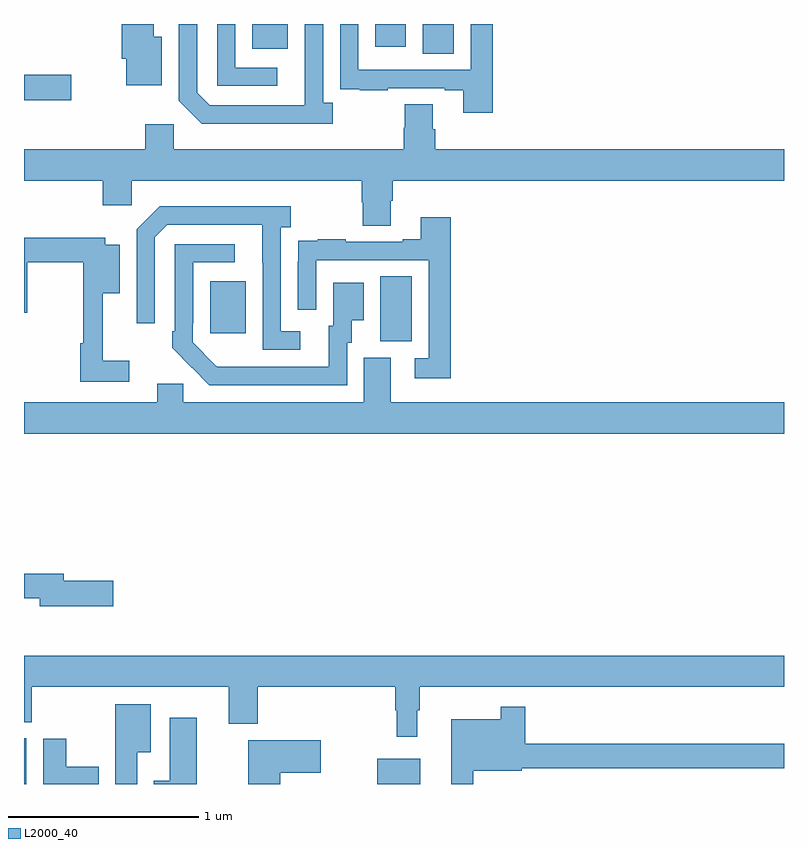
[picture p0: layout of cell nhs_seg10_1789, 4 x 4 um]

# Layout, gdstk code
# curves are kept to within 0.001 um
import gdstk
lib = gdstk.Library(unit=1e-6, precision=1e-09)
def R(c, l, rs):  # rectangles x0, y0, x1, y1
    for r in rs: c.add(gdstk.rectangle(r[:2], r[2:], *l))
def P(c, l, *ps):  # polygons
    for p in ps: c.add(gdstk.Polygon(p, *l))
L2000_40 = (2000, 40)

nhs_seg10_1789 = lib.new_cell('nhs_seg10_1789')
R(nhs_seg10_1789, L2000_40, [(205,1270.5,205.012,1270.74), (206.858,1270.5,207.085,1270.633), (206.876,1272.829,207.04,1273.172), (205.979,1272.873,206.167,1273.147), (205,1274.099,205.249,1274.234), (207.098,1274.344,207.262,1274.5), (206.201,1274.369,206.389,1274.5), (206.849,1274.379,207.01,1274.5)])
P(nhs_seg10_1789, L2000_40, [(206.626,1274.086),(206.574,1274.086),(206.574,1274.5),(206.478,1274.5),(206.477,1274.073),(205.977,1274.073),(205.911,1274.139),(205.911,1274.5),(205.815,1274.5),(205.815,1274.097),(205.936,1273.976),(206.626,1273.976)],
  [(205.726,1274.434),(205.684,1274.434),(205.684,1274.5),(205.514,1274.5),(205.514,1274.316),(205.538,1274.316),(205.538,1274.177),(205.726,1274.177)],
  [(206.332,1274.271),(206.112,1274.271),(206.112,1274.5),(206.016,1274.5),(206.016,1274.175),(206.332,1274.175)],
  [(207.467,1274.5),(207.351,1274.5),(207.351,1274.259),(206.76,1274.259),(206.76,1274.5),(206.664,1274.5),(206.664,1274.266),(206.665,1274.266),(206.665,1274.157),(206.767,1274.157),(206.767,1274.151),(206.915,1274.151),(206.915,1274.163),(207.215,1274.163),(207.215,1274.151),(207.311,1274.151),(207.311,1274.034),(207.467,1274.034)],
  [(206.929,1273.57),(206.942,1273.57),(206.942,1273.676),(209,1273.676),(209,1273.84),(207.164,1273.84),(207.164,1273.946),(207.151,1273.946),(207.151,1274.078),(207.004,1274.078),(207.004,1273.953),(206.999,1273.953),(206.999,1273.84),(205.788,1273.84),(205.788,1273.972),(205.637,1273.972),(205.637,1273.84),(205,1273.84),(205,1273.676),(205.415,1273.676),(205.415,1273.545),(205.566,1273.545),(205.566,1273.676),(206.777,1273.676),(206.777,1273.563),(206.782,1273.563),(206.782,1273.438),(206.929,1273.438)],
  [(206.455,1272.882),(206.352,1272.882),(206.352,1273.43),(206.404,1273.43),(206.404,1273.54),(205.714,1273.54),(205.593,1273.419),(205.593,1272.924),(205.689,1272.924),(205.689,1273.377),(205.755,1273.443),(206.255,1273.443),(206.256,1272.786),(206.455,1272.786)],
  [(207.245,1273.483),(207.089,1273.483),(207.089,1273.366),(206.993,1273.366),(206.993,1273.353),(206.693,1273.353),(206.693,1273.366),(206.545,1273.366),(206.545,1273.359),(206.443,1273.359),(206.443,1273.25),(206.442,1273.25),(206.442,1272.996),(206.538,1272.996),(206.538,1273.257),(207.129,1273.257),(207.129,1272.741),(207.057,1272.741),(207.057,1272.636),(207.245,1272.636)],
  [(205.555,1272.727),(205.415,1272.727),(205.415,1273.082),(205.504,1273.082),(205.504,1273.339),(205.428,1273.339),(205.428,1273.375),(205,1273.375),(205,1272.981),(205.018,1272.981),(205.018,1273.246),(205.312,1273.246),(205.312,1272.821),(205.297,1272.821),(205.297,1272.618),(205.555,1272.618)],
  [(206.7,1272.822),(206.725,1272.822),(206.725,1272.941),(206.788,1272.941),(206.788,1273.138),(206.627,1273.138),(206.627,1272.912),(206.603,1272.912),(206.603,1272.696),(206.016,1272.697),(205.887,1272.825),(205.887,1272.925),(205.89,1272.925),(205.89,1273.245),(206.11,1273.245),(206.11,1273.341),(205.794,1273.341),(205.794,1272.883),(205.779,1272.883),(205.779,1272.795),(205.976,1272.6),(206.7,1272.6)],
  [(209,1272.508),(206.929,1272.508),(206.929,1272.744),(206.789,1272.744),(206.789,1272.508),(205.839,1272.508),(205.839,1272.606),(205.7,1272.606),(205.7,1272.508),(205,1272.508),(205,1272.344),(209,1272.344)],
  [(205.471,1271.57),(205.21,1271.57),(205.21,1271.606),(205,1271.606),(205,1271.478),(205.082,1271.478),(205.082,1271.435),(205.471,1271.435)],
  [(207.07,1270.889),(207.082,1270.889),(207.082,1271.012),(209,1271.012),(209,1271.176),(205,1271.176),(205,1270.825),(205.041,1270.825),(205.041,1271.012),(206.078,1271.012),(206.078,1270.818),(206.231,1270.818),(206.231,1271.012),(206.953,1271.012),(206.953,1270.889),(206.961,1270.889),(206.961,1270.749),(207.07,1270.749)],
  [(205.597,1270.667),(205.666,1270.667),(205.666,1270.921),(205.481,1270.921),(205.481,1270.5),(205.597,1270.5)],
  [(207.365,1270.571),(207.619,1270.571),(207.619,1270.582),(209,1270.582),(209,1270.711),(207.638,1270.711),(207.638,1270.906),(207.51,1270.906),(207.51,1270.84),(207.248,1270.84),(207.248,1270.5),(207.365,1270.5)],
  [(205.909,1270.849),(205.766,1270.849),(205.766,1270.516),(205.682,1270.516),(205.682,1270.5),(205.909,1270.5)],
  [(205.393,1270.591),(205.222,1270.591),(205.222,1270.738),(205.1,1270.738),(205.1,1270.5),(205.393,1270.5)],
  [(206.348,1270.559),(206.563,1270.559),(206.563,1270.729),(206.18,1270.729),(206.18,1270.5),(206.348,1270.5)])

lib.write_gds('nhs_seg10_1789.gds')
